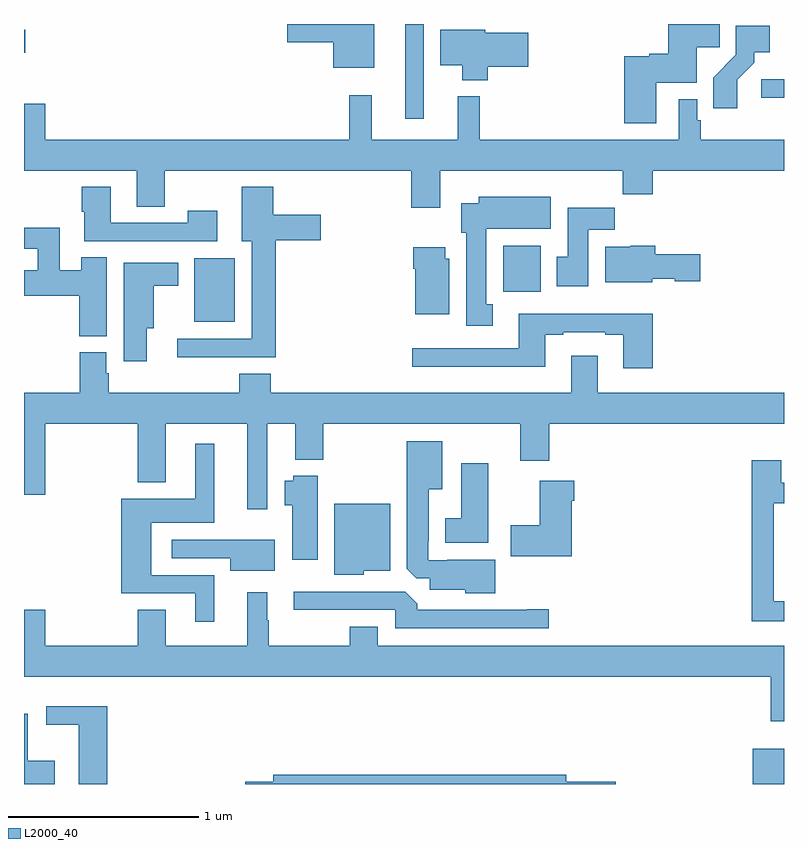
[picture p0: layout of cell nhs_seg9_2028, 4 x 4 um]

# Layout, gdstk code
import gdstk
lib = gdstk.Library(unit=1e-6, precision=1e-09)
def R(c, l, rs):  # rectangles x0, y0, x1, y1
    for r in rs: c.add(gdstk.rectangle(r[:2], r[2:], *l))
def P(c, l, *ps):  # polygons
    for p in ps: c.add(gdstk.Polygon(p, *l))
L2000_40 = (2000, 40)

nhs_seg9_2028 = lib.new_cell('nhs_seg9_2028')
R(nhs_seg9_2028, L2000_40, [(228.836,1218.5,229,1218.685), (225.896,1220.933,226.108,1221.268), (227.522,1221.092,227.719,1221.334), (227.006,1222.002,227.103,1222.5), (228.879,1222.111,229,1222.209), (225,1222.349,225.007,1222.471)])
P(nhs_seg9_2028, L2000_40, [(228.328,1222.19),(228.541,1222.19),(228.541,1222.378),(228.662,1222.378),(228.662,1222.5),(228.392,1222.5),(228.392,1222.343),(228.291,1222.343),(228.291,1222.33),(228.158,1222.33),(228.158,1221.978),(228.328,1221.978)],
  [(226.843,1222.5),(226.386,1222.5),(226.386,1222.403),(226.628,1222.403),(226.628,1222.271),(226.843,1222.271)],
  [(228.754,1222.207),(228.844,1222.297),(228.844,1222.352),(228.925,1222.352),(228.925,1222.492),(228.747,1222.492),(228.747,1222.337),(228.628,1222.218),(228.628,1222.056),(228.754,1222.056)],
  [(227.441,1222.276),(227.653,1222.276),(227.653,1222.454),(227.428,1222.454),(227.428,1222.471),(227.192,1222.471),(227.192,1222.283),(227.306,1222.283),(227.306,1222.205),(227.441,1222.205)],
  [(227.191,1221.728),(228.151,1221.728),(228.151,1221.604),(228.308,1221.604),(228.308,1221.728),(229,1221.728),(229,1221.892),(228.563,1221.892),(228.563,1221.993),(228.543,1221.993),(228.543,1222.105),(228.447,1222.105),(228.447,1221.892),(227.399,1221.892),(227.399,1222.12),(227.282,1222.12),(227.282,1221.892),(226.829,1221.892),(226.829,1222.126),(226.711,1222.126),(226.711,1221.892),(225.112,1221.892),(225.112,1222.081),(225,1222.081),(225,1221.728),(225.593,1221.728),(225.593,1221.538),(225.741,1221.538),(225.741,1221.728),(227.039,1221.728),(227.039,1221.534),(227.191,1221.534)],
  [(226.325,1221.362),(226.561,1221.362),(226.561,1221.496),(226.312,1221.496),(226.312,1221.643),(226.145,1221.643),(226.145,1221.356),(226.199,1221.356),(226.199,1220.844),(225.807,1220.844),(225.807,1220.747),(226.325,1220.747)],
  [(226.018,1221.517),(225.862,1221.517),(225.862,1221.453),(225.457,1221.453),(225.457,1221.643),(225.305,1221.643),(225.305,1221.511),(225.317,1221.511),(225.317,1221.357),(226.018,1221.357)],
  [(227.467,1221.026),(227.434,1221.026),(227.434,1221.422),(227.773,1221.422),(227.773,1221.592),(227.393,1221.592),(227.393,1221.556),(227.3,1221.556),(227.3,1221.402),(227.327,1221.402),(227.327,1220.913),(227.467,1220.913)],
  [(227.971,1221.416),(228.11,1221.416),(228.11,1221.534),(227.861,1221.534),(227.861,1221.276),(227.804,1221.276),(227.804,1221.12),(227.971,1221.12)],
  [(225.436,1221.272),(225.302,1221.272),(225.302,1221.205),(225.189,1221.205),(225.189,1221.427),(225,1221.427),(225,1221.318),(225.073,1221.318),(225.073,1221.205),(225,1221.205),(225,1221.071),(225.29,1221.071),(225.29,1220.857),(225.436,1220.857)],
  [(228.306,1221.158),(228.426,1221.158),(228.426,1221.146),(228.559,1221.146),(228.559,1221.288),(228.323,1221.288),(228.323,1221.334),(228.192,1221.334),(228.192,1221.328),(228.059,1221.328),(228.059,1221.14),(228.306,1221.14)],
  [(227.239,1221.264),(227.218,1221.264),(227.218,1221.325),(227.048,1221.325),(227.048,1221.212),(227.06,1221.212),(227.06,1220.972),(227.239,1220.972)],
  [(225.646,1220.9),(225.682,1220.9),(225.682,1221.122),(225.811,1221.122),(225.811,1221.244),(225.524,1221.244),(225.524,1220.724),(225.646,1220.724)],
  [(228.308,1220.974),(227.603,1220.974),(227.603,1220.793),(227.043,1220.793),(227.043,1220.696),(227.743,1220.696),(227.743,1220.865),(227.839,1220.865),(227.839,1220.877),(228.059,1220.877),(228.059,1220.865),(228.155,1220.865),(228.155,1220.688),(228.308,1220.688)],
  [(226.279,1220.396),(226.427,1220.396),(226.427,1220.207),(226.575,1220.207),(226.575,1220.396),(227.612,1220.396),(227.612,1220.202),(227.765,1220.202),(227.765,1220.396),(229,1220.396),(229,1220.56),(228.019,1220.56),(228.019,1220.755),(227.879,1220.755),(227.879,1220.56),(226.298,1220.56),(226.298,1220.659),(226.133,1220.659),(226.133,1220.56),(225.446,1220.56),(225.446,1220.661),(225.433,1220.661),(225.433,1220.772),(225.293,1220.772),(225.293,1220.56),(225,1220.56),(225,1220.022),(225.112,1220.022),(225.112,1220.396),(225.598,1220.396),(225.598,1220.087),(225.745,1220.087),(225.745,1220.396),(226.175,1220.396),(226.175,1219.947),(226.279,1219.947)],
  [(227.479,1219.681),(227.227,1219.681),(227.227,1219.677),(227.127,1219.677),(227.127,1219.777),(227.131,1219.777),(227.131,1220.051),(227.2,1220.051),(227.2,1220.305),(227.015,1220.305),(227.015,1219.633),(227.064,1219.584),(227.135,1219.584),(227.135,1219.523),(227.322,1219.523),(227.322,1219.505),(227.479,1219.505)],
  [(226,1219.599),(225.67,1219.599),(225.67,1219.874),(226,1219.874),(226,1220.29),(225.902,1220.29),(225.902,1220.002),(225.512,1220.002),(225.512,1219.503),(225.902,1219.503),(225.902,1219.353),(226,1219.353)],
  [(229,1219.461),(228.945,1219.461),(228.945,1219.977),(229,1219.977),(229,1220.086),(228.985,1220.086),(228.985,1220.203),(228.829,1220.203),(228.829,1219.356),(229,1219.356)],
  [(227.443,1220.188),(227.3,1220.188),(227.3,1219.9),(227.216,1219.9),(227.216,1219.769),(227.443,1219.769)],
  [(226.546,1220.122),(226.416,1220.122),(226.416,1220.095),(226.373,1220.095),(226.373,1219.966),(226.412,1219.966),(226.412,1219.68),(226.546,1219.68)],
  [(227.884,1219.991),(227.897,1219.991),(227.897,1220.095),(227.714,1220.095),(227.714,1219.863),(227.562,1219.863),(227.562,1219.7),(227.884,1219.7)],
  [(226.788,1219.622),(226.927,1219.622),(226.927,1219.975),(226.634,1219.975),(226.634,1219.601),(226.788,1219.601)],
  [(226.321,1219.786),(226.089,1219.786),(226.089,1219.785),(225.777,1219.785),(225.777,1219.689),(226.085,1219.689),(226.085,1219.622),(226.321,1219.622)],
  [(227.761,1219.421),(227.648,1219.421),(227.648,1219.416),(227.069,1219.416),(227.069,1219.45),(227.007,1219.512),(226.419,1219.512),(226.419,1219.416),(226.953,1219.416),(226.953,1219.32),(227.761,1219.32)],
  [(229,1219.228),(226.861,1219.228),(226.861,1219.327),(226.714,1219.327),(226.714,1219.228),(226.289,1219.228),(226.289,1219.361),(226.279,1219.361),(226.279,1219.51),(226.175,1219.51),(226.175,1219.228),(225.745,1219.228),(225.745,1219.418),(225.598,1219.418),(225.598,1219.228),(225.112,1219.228),(225.112,1219.417),(225,1219.417),(225,1219.064),(228.931,1219.064),(228.931,1218.831),(229,1218.831)],
  [(225.437,1218.91),(225.117,1218.91),(225.117,1218.812),(225.287,1218.812),(225.287,1218.5),(225.437,1218.5)],
  [(225.163,1218.622),(225.02,1218.622),(225.02,1218.87),(225,1218.87),(225,1218.5),(225.163,1218.5)],
  [(228.115,1218.512),(227.854,1218.512),(227.854,1218.548),(226.313,1218.548),(226.313,1218.512),(226.164,1218.512),(226.164,1218.5),(228.115,1218.5)])

lib.write_gds('nhs_seg9_2028.gds')
